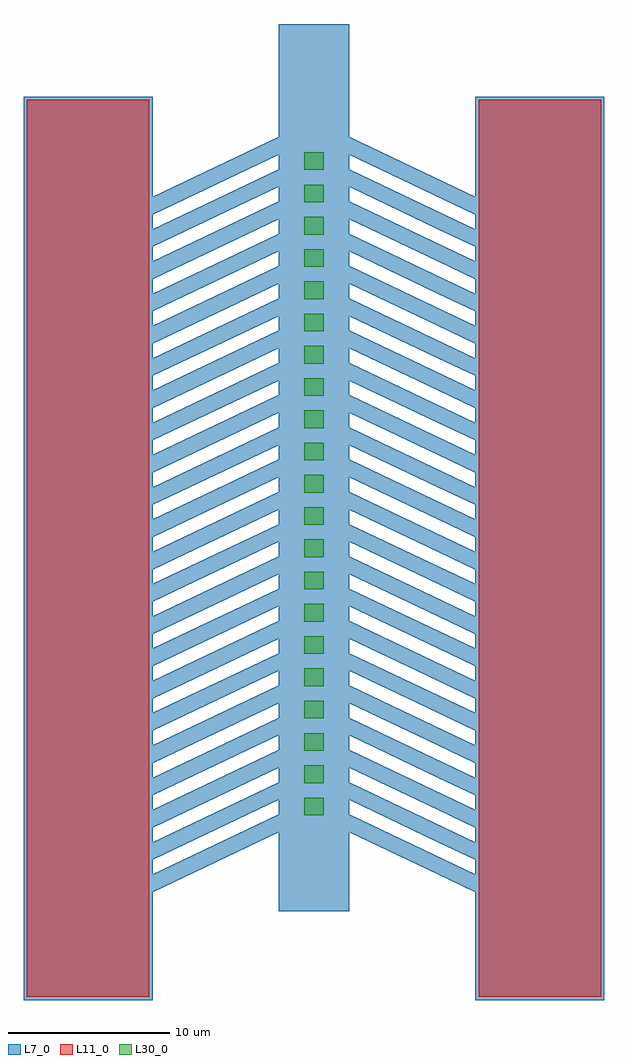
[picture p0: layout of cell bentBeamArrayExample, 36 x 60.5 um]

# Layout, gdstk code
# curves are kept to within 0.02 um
import gdstk
lib = gdstk.Library(unit=1e-6, precision=1e-09)
def R(c, l, rs):  # rectangles x0, y0, x1, y1
    for r in rs: c.add(gdstk.rectangle(r[:2], r[2:], *l))
def A(c, l, x, y, w, h, nx, ny, dx, dy):  # array of equal rectangles
    R(c, l, [(x+i*dx, y+j*dy, x+i*dx+w, y+j*dy+h) for i in range(nx) for j in range(ny)])
def P(c, l, *ps):  # polygons
    for p in ps: c.add(gdstk.Polygon(p, *l))
L7_0 = (7, 0)
L11_0 = (11, 0)
L30_0 = (30, 0)

bentbeamarrayexample = lib.new_cell('bentBeamArrayExample')
P(bentbeamarrayexample, L7_0, [(0,0),(0,7.792),(8,7.792),(15.8,11.506),(15.8,12.399),(8,8.684),(8,7.792),(0,7.792),(0,9.792),(8,9.792),(15.8,13.506),(15.8,14.399),(8,10.684),(8,9.792),(0,9.792),(0,11.792),(8,11.792),(15.8,15.506),(15.8,16.399),(8,12.684),(8,11.792),(0,11.792),(0,13.792),(8,13.792),(15.8,17.506),(15.8,18.399),(8,14.684),(8,13.792),(0,13.792),(0,15.792),(8,15.792),(15.8,19.506),(15.8,20.399),(8,16.684),(8,15.792),(0,15.792),(0,17.792),(8,17.792),(15.8,21.506),(15.8,22.399),(8,18.684),(8,17.792),(0,17.792),(0,19.792),(8,19.792),(15.8,23.506),(15.8,24.399),(8,20.684),(8,19.792),(0,19.792),(0,21.792),(8,21.792),(15.8,25.506),(15.8,26.399),(8,22.684),(8,21.792),(0,21.792),(0,23.792),(8,23.792),(15.8,27.506),(15.8,28.399),(8,24.684),(8,23.792),(0,23.792),(0,25.792),(8,25.792),(15.8,29.506),(15.8,30.399),(8,26.684),(8,25.792),(0,25.792),(0,27.792),(8,27.792),(15.8,31.506),(15.8,32.399),(8,28.684),(8,27.792),(0,27.792),(0,29.792),(8,29.792),(15.8,33.506),(15.8,34.399),(8,30.684),(8,29.792),(0,29.792),(0,31.792),(8,31.792),(15.8,35.506),(15.8,36.399),(8,32.684),(8,31.792),(0,31.792),(0,33.792),(8,33.792),(15.8,37.506),(15.8,38.399),(8,34.684),(8,33.792),(0,33.792),(0,35.792),(8,35.792),(15.8,39.506),(15.8,40.399),(8,36.684),(8,35.792),(0,35.792),(0,37.792),(8,37.792),(15.8,41.506),(15.8,42.399),(8,38.684),(8,37.792),(0,37.792),(0,39.792),(8,39.792),(15.8,43.506),(15.8,44.399),(8,40.684),(8,39.792),(0,39.792),(0,41.792),(8,41.792),(15.8,45.506),(15.8,46.399),(8,42.684),(8,41.792),(0,41.792),(0,43.792),(8,43.792),(15.8,47.506),(15.8,48.399),(8,44.684),(8,43.792),(0,43.792),(0,45.792),(8,45.792),(15.8,49.506),(15.8,50.399),(8,46.684),(8,45.792),(0,45.792),(0,47.792),(8,47.792),(15.8,51.506),(15.8,52.399),(8,48.684),(8,47.792),(0,47.792),(0,56),(8,56),(8,49.792),(15.8,53.506),(15.8,60.5),(20.2,60.5),(20.2,53.506),(28,49.792),(28,56),(36,56),(36,0),(28,0),(28,6.684),(25.674,7.792),(28,7.792),(28,8.684),(25.674,9.792),(28,9.792),(28,10.684),(25.674,11.792),(28,11.792),(28,12.684),(25.674,13.792),(28,13.792),(28,14.684),(25.674,15.792),(28,15.792),(28,16.684),(25.674,17.792),(28,17.792),(28,18.684),(25.674,19.792),(28,19.792),(28,20.684),(25.674,21.792),(28,21.792),(28,22.684),(25.674,23.792),(28,23.792),(28,24.684),(25.674,25.792),(28,25.792),(28,26.684),(25.674,27.792),(28,27.792),(28,28.684),(25.674,29.792),(28,29.792),(28,30.684),(25.674,31.792),(28,31.792),(28,32.684),(25.674,33.792),(28,33.792),(28,34.684),(25.674,35.792),(28,35.792),(28,36.684),(25.674,37.792),(28,37.792),(28,38.684),(25.674,39.792),(28,39.792),(28,40.684),(25.674,41.792),(28,41.792),(28,42.684),(25.674,43.792),(28,43.792),(28,44.684),(25.674,45.792),(28,45.792),(28,46.684),(25.674,47.792),(28,47.792),(28,48.684),(20.2,52.399),(20.2,51.506),(28,47.792),(25.674,47.792),(20.2,50.399),(20.2,49.506),(28,45.792),(25.674,45.792),(20.2,48.399),(20.2,47.506),(28,43.792),(25.674,43.792),(20.2,46.399),(20.2,45.506),(28,41.792),(25.674,41.792),(20.2,44.399),(20.2,43.506),(28,39.792),(25.674,39.792),(20.2,42.399),(20.2,41.506),(28,37.792),(25.674,37.792),(20.2,40.399),(20.2,39.506),(28,35.792),(25.674,35.792),(20.2,38.399),(20.2,37.506),(28,33.792),(25.674,33.792),(20.2,36.399),(20.2,35.506),(28,31.792),(25.674,31.792),(20.2,34.399),(20.2,33.506),(28,29.792),(25.674,29.792),(20.2,32.399),(20.2,31.506),(28,27.792),(25.674,27.792),(20.2,30.399),(20.2,29.506),(28,25.792),(25.674,25.792),(20.2,28.399),(20.2,27.506),(28,23.792),(25.674,23.792),(20.2,26.399),(20.2,25.506),(28,21.792),(25.674,21.792),(20.2,24.399),(20.2,23.506),(28,19.792),(25.674,19.792),(20.2,22.399),(20.2,21.506),(28,17.792),(25.674,17.792),(20.2,20.399),(20.2,19.506),(28,15.792),(25.674,15.792),(20.2,18.399),(20.2,17.506),(28,13.792),(25.674,13.792),(20.2,16.399),(20.2,15.506),(28,11.792),(25.674,11.792),(20.2,14.399),(20.2,13.506),(28,9.792),(25.674,9.792),(20.2,12.399),(20.2,11.506),(28,7.792),(25.674,7.792),(20.2,10.399),(20.2,5.5),(15.8,5.5),(15.8,10.399),(8,6.684),(8,0)])
R(bentbeamarrayexample, L11_0, [(0.2,0.2,7.8,55.8), (28.2,0.2,35.8,55.8)])
A(bentbeamarrayexample, L30_0, 17.4, 11.45, 1.2, 1.1, 1, 21, 0, 2)

lib.write_gds('bentBeamArrayExample.gds')
